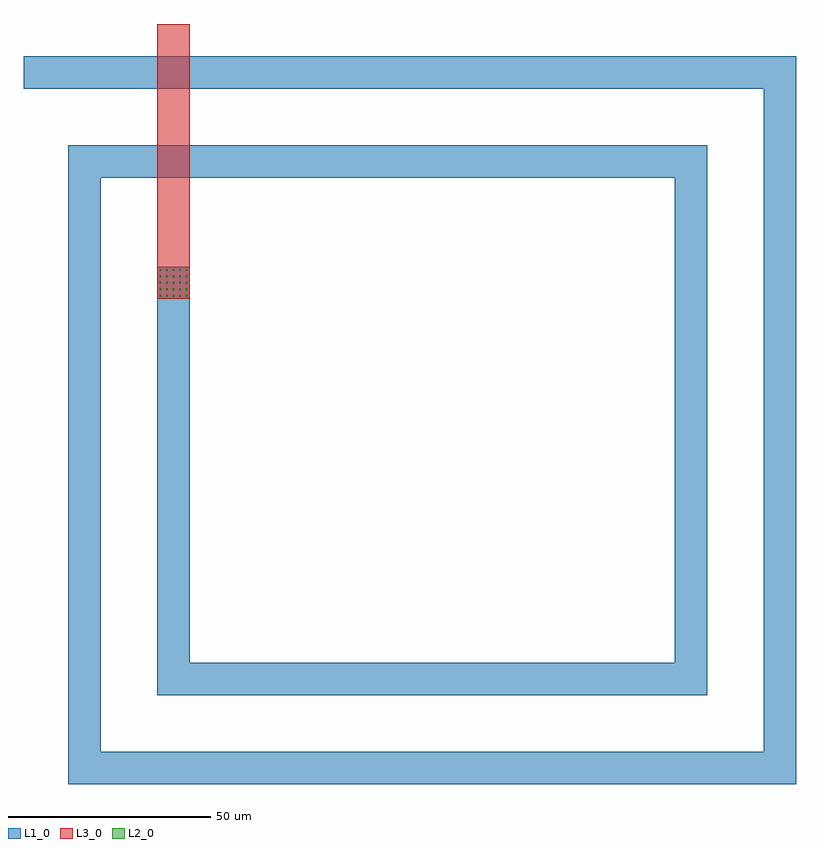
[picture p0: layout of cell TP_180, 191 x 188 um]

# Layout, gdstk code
import gdstk
lib = gdstk.Library(unit=1e-6, precision=1e-09)
def R(c, l, rs):  # rectangles x0, y0, x1, y1
    for r in rs: c.add(gdstk.rectangle(r[:2], r[2:], *l))
def A(c, l, x, y, w, h, nx, ny, dx, dy):  # array of equal rectangles
    R(c, l, [(x+i*dx, y+j*dy, x+i*dx+w, y+j*dy+h) for i in range(nx) for j in range(ny)])
def P(c, l, *ps):  # polygons
    for p in ps: c.add(gdstk.Polygon(p, *l))
L1_0 = (1, 0)
L2_0 = (2, 0)
L3_0 = (3, 0)

tp_180 = lib.new_cell('TP_180')
R(tp_180, L1_0, [(133,239.005,141,246.995)])
P(tp_180, L1_0, [(100,291),(100,299),(291,299),(283,291)],
  [(291,119),(283,127),(283,291),(291,299)],
  [(111,119),(119,127),(283,127),(291,119)],
  [(111,119),(111,277),(119,269),(119,127)],
  [(119,269),(111,277),(269,277),(261,269)],
  [(269,141),(261,149),(261,269),(269,277)],
  [(133,141),(141,149),(261,149),(269,141)],
  [(133,141),(133,247),(141,247),(141,149)])
A(tp_180, L2_0, 133.6, 239.59, 0.4, 0.4, 5, 5, 1.6, 1.6)
R(tp_180, L3_0, [(133,239,141,307), (133,239.005,141,246.995)])

lib.write_gds('TP_180.gds')
